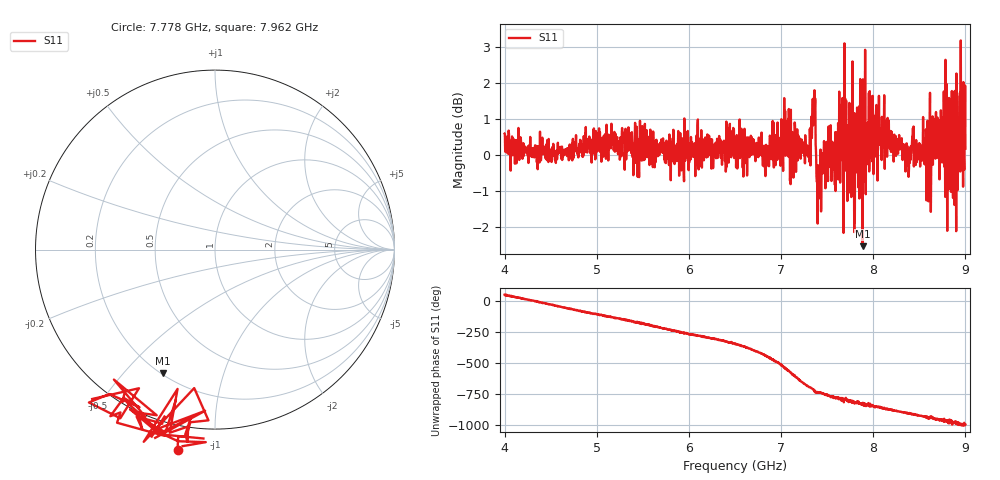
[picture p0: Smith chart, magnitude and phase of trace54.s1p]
! Created with skrf 1.8.0 (http://scikit-rf.org).
# Hz S RI R 50.0
!freq ReS11 ImS11
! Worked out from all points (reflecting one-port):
!   1601 points, 4 GHz to 9 GHz, reference 50 ohm
!   lowest |S11| = -2.5 dB at 7.884 GHz (marker M1), VSWR 6.87, Z = 10.4 - j32.2 ohm
!   phase of S11 starts at 52 deg and turns -1051 deg over the sweep
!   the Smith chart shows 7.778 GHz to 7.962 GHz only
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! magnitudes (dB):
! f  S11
! 4 GHz  0.6
! 4.625 GHz  -0.2
! 5.25 GHz  -0.1
! 5.875 GHz  0.3
! 6.5 GHz  0.3
! 6.819 GHz  -0.1
! 7.069 GHz  0.0
! 7.125 GHz  0.2
! 7.294 GHz  -0.1
! 7.347 GHz  0.8
! 7.409 GHz  -1.2
! 7.512 GHz  0.5
! 7.591 GHz  -1.0
! 7.669 GHz  0.8
! 7.722 GHz  0.2
! 7.75 GHz  0.2
! 7.816 GHz  -0.5
! 7.844 GHz  0.8
! 7.884 GHz  -2.5
! 8.05 GHz  1.2
! 8.375 GHz  0.0
! 8.431 GHz  0.7
! 8.603 GHz  -0.5
! 8.656 GHz  1.0
! 8.788 GHz  -0.7
! 8.856 GHz  0.2
! 8.972 GHz  0.5
! 9 GHz  0.2
